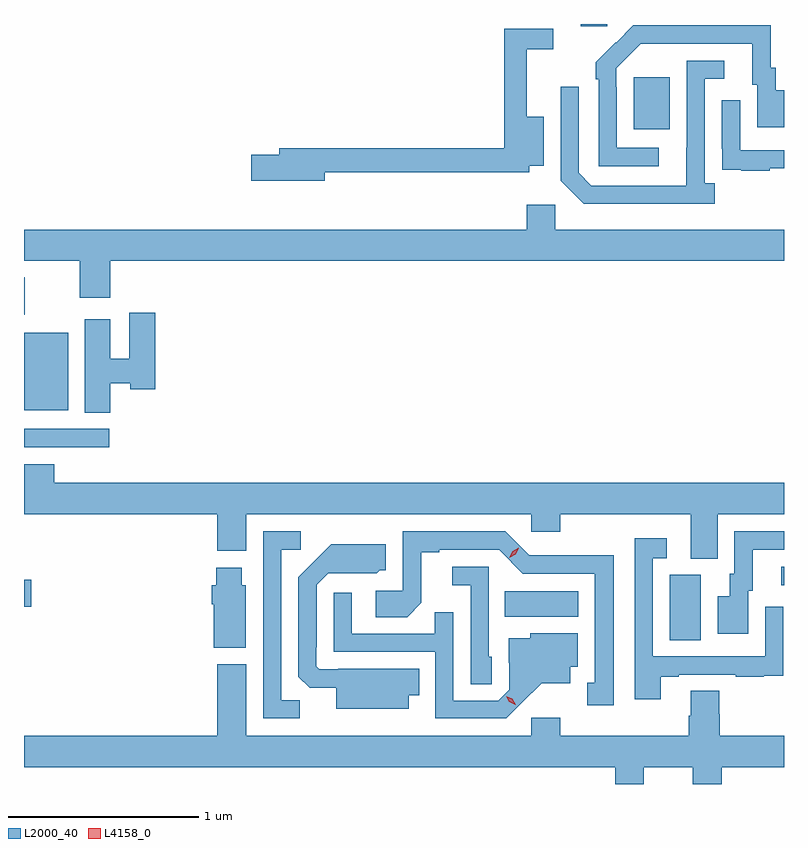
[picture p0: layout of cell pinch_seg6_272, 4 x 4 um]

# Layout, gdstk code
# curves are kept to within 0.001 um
import gdstk
lib = gdstk.Library(unit=1e-6, precision=1e-09)
def R(c, l, rs):  # rectangles x0, y0, x1, y1
    for r in rs: c.add(gdstk.rectangle(r[:2], r[2:], *l))
def P(c, l, *ps):  # polygons
    for p in ps: c.add(gdstk.Polygon(p, *l))
L2000_40 = (2000, 40)
L4158_0 = (4158, 0)

pinch_seg6_272 = lib.new_cell('pinch_seg6_272')
R(pinch_seg6_272, L2000_40, [(880.382,986.632,880.546,986.976), (879.514,986.756,879.901,986.89), (876.983,986.807,877.021,986.949), (880.968,986.922,880.983,987.018), (876.983,987.648,877.432,987.744), (876.983,987.842,877.216,988.249), (876.983,988.344,876.987,988.543), (880.193,989.321,880.381,989.596), (879.914,989.862,880.053,989.875)])
P(pinch_seg6_272, L2000_40, [(880.324,989.223),(880.104,989.223),(880.104,989.543),(880.101,989.543),(880.101,989.643),(880.23,989.772),(880.817,989.772),(880.817,989.556),(880.841,989.556),(880.841,989.331),(880.983,989.331),(880.983,989.527),(880.939,989.527),(880.939,989.646),(880.914,989.646),(880.914,989.868),(880.19,989.868),(879.993,989.673),(879.993,989.585),(880.008,989.585),(880.008,989.127),(880.324,989.127)],
  [(878.566,989.094),(879.642,989.094),(879.642,989.129),(879.718,989.129),(879.718,989.386),(879.629,989.386),(879.629,989.742),(879.769,989.742),(879.769,989.85),(879.511,989.85),(879.511,989.222),(878.327,989.222),(878.327,989.186),(878.178,989.186),(878.178,989.051),(878.566,989.051)],
  [(880.618,989.038),(880.566,989.038),(880.566,989.586),(880.669,989.586),(880.669,989.682),(880.47,989.682),(880.469,989.025),(879.969,989.025),(879.903,989.091),(879.903,989.545),(879.807,989.545),(879.807,989.049),(879.928,988.928),(880.618,988.928)],
  [(880.907,989.115),(880.983,989.115),(880.983,989.211),(880.752,989.211),(880.752,989.473),(880.656,989.473),(880.656,989.218),(880.657,989.218),(880.657,989.109),(880.759,989.109),(880.759,989.103),(880.907,989.103)],
  [(877.436,988.628),(880.983,988.628),(880.983,988.792),(879.78,988.792),(879.78,988.924),(879.629,988.924),(879.629,988.792),(876.983,988.792),(876.983,988.628),(877.276,988.628),(877.276,988.434),(877.436,988.434)],
  [(877.438,987.983),(877.542,987.983),(877.542,987.953),(877.673,987.953),(877.673,988.354),(877.538,988.354),(877.538,988.113),(877.438,988.113),(877.438,988.321),(877.304,988.321),(877.304,987.829),(877.438,987.829)],
  [(880.633,987.296),(880.983,987.296),(880.983,987.46),(877.142,987.46),(877.142,987.559),(876.983,987.559),(876.983,987.296),(878,987.296),(878,987.102),(878.152,987.102),(878.152,987.296),(879.654,987.296),(879.654,987.203),(879.806,987.203),(879.806,987.296),(880.493,987.296),(880.493,987.061),(880.633,987.061)],
  [(880.087,987.08),(879.864,987.08),(879.864,987.078),(879.642,987.078),(879.516,987.204),(878.976,987.204),(878.976,986.892),(878.835,986.892),(878.835,986.752),(878.999,986.752),(879.075,986.828),(879.075,987.096),(879.169,987.096),(879.169,987.108),(879.483,987.108),(879.609,986.982),(879.986,986.982),(879.986,986.409),(879.947,986.409),(879.947,986.289),(880.087,986.289)],
  [(878.433,986.315),(878.337,986.315),(878.337,987.108),(878.44,987.108),(878.44,987.204),(878.241,987.204),(878.241,986.22),(878.433,986.22)],
  [(880.795,986.892),(880.819,986.892),(880.819,987.108),(880.983,987.108),(880.983,987.204),(880.722,987.204),(880.722,986.982),(880.697,986.982),(880.697,986.863),(880.634,986.863),(880.634,986.667),(880.795,986.667)],
  [(880.333,986.439),(880.429,986.439),(880.429,986.451),(880.729,986.451),(880.729,986.439),(880.877,986.439),(880.877,986.445),(880.979,986.445),(880.979,986.554),(880.98,986.554),(880.98,986.809),(880.884,986.809),(880.884,986.547),(880.293,986.547),(880.293,987.063),(880.366,987.063),(880.366,987.169),(880.197,987.169),(880.197,986.322),(880.333,986.322)],
  [(879.007,986.342),(879.062,986.342),(879.062,986.482),(878.638,986.482),(878.638,986.478),(878.538,986.478),(878.52,986.496),(878.52,986.596),(878.523,986.596),(878.523,986.925),(878.583,986.985),(878.84,986.984),(878.856,987),(878.887,987),(878.887,987.136),(878.599,987.136),(878.427,986.962),(878.427,986.44),(878.486,986.381),(878.627,986.381),(878.627,986.27),(879.007,986.27)],
  [(879.444,986.544),(879.429,986.544),(879.429,987.018),(879.237,987.018),(879.237,986.921),(879.333,986.921),(879.333,986.401),(879.444,986.401)],
  [(878.149,986.922),(878.128,986.922),(878.128,987.013),(877.994,987.013),(877.994,986.922),(877.97,986.922),(877.97,986.822),(877.982,986.822),(877.982,986.591),(878.149,986.591)],
  [(879.604,986.303),(879.707,986.405),(879.859,986.405),(879.859,986.492),(879.898,986.492),(879.898,986.668),(879.648,986.668),(879.648,986.641),(879.533,986.641),(879.533,986.512),(879.537,986.512),(879.537,986.37),(879.48,986.313),(879.243,986.313),(879.243,986.78),(879.145,986.78),(879.145,986.667),(878.709,986.667),(878.709,986.881),(878.613,986.881),(878.613,986.571),(879.147,986.571),(879.147,986.22),(879.52,986.22)],
  [(879.806,986.224),(879.654,986.224),(879.654,986.128),(878.152,986.128),(878.152,986.506),(878,986.506),(878,986.128),(876.983,986.128),(876.983,985.964),(880.094,985.964),(880.094,985.875),(880.246,985.875),(880.246,985.964),(880.502,985.964),(880.502,985.875),(880.655,985.875),(880.655,985.964),(880.983,985.964),(880.983,986.128),(880.646,986.128),(880.646,986.241),(880.641,986.241),(880.641,986.366),(880.493,986.366),(880.493,986.234),(880.481,986.234),(880.481,986.128),(879.806,986.128)])
P(pinch_seg6_272, L4158_0, [(879.538,987.066),(879.538,987.066),(879.556,987.099),(879.587,987.118),(879.588,987.118),(879.588,987.118),(879.57,987.085),(879.538,987.066)],
  [(879.569,986.292),(879.538,986.308),(879.521,986.338),(879.521,986.338),(879.522,986.338),(879.552,986.323),(879.57,986.293),(879.57,986.292)])

lib.write_gds('pinch_seg6_272.gds')
